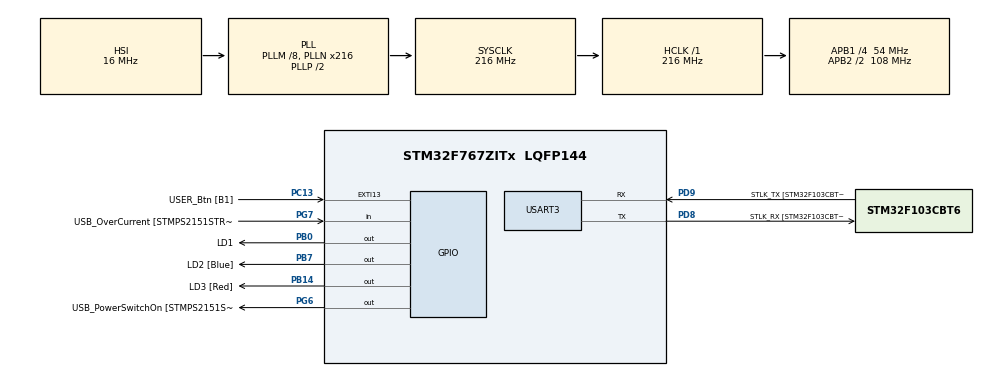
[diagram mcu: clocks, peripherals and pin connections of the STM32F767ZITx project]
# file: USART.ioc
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Mcu.Family=STM32F7
Mcu.Name=STM32F767ZITx
Mcu.Package=LQFP144
NVIC.PriorityGroup=NVIC_PRIORITYGROUP_4
NVIC.USART3_IRQn=true\:0\:0\:false\:false\:true\:true\:true
PA1.GPIO_Label=RMII_REF_CLK [LAN8742A-CZ-TR_REFCLK0]
PA1.Signal=ETH_REF_CLK
PA10.GPIO_Label=USB_ID
PA10.Signal=USB_OTG_FS_ID
PA11.GPIO_Label=USB_DM
PA11.Signal=USB_OTG_FS_DM
PA12.GPIO_Label=USB_DP
PA12.Signal=USB_OTG_FS_DP
PA13.GPIO_Label=TMS
PA13.Mode=Serial_Wire
PA13.Signal=SYS_JTMS-SWDIO
PA14.GPIO_Label=TCK
PA14.Mode=Serial_Wire
PA14.Signal=SYS_JTCK-SWCLK
PA2.GPIO_Label=RMII_MDIO [LAN8742A-CZ-TR_MDIO]
PA2.Signal=ETH_MDIO
PA7.GPIO_Label=RMII_CRS_DV [LAN8742A-CZ-TR_CRS_DV]
PA7.Signal=ETH_CRS_DV
PA8.GPIO_Label=USB_SOF [TP1]
PA8.Signal=USB_OTG_FS_SOF
PA9.GPIO_Label=USB_VBUS
PA9.Signal=USB_OTG_FS_VBUS
PB0.GPIO_Label=LD1
PB0.Signal=GPIO_Output
PB13.GPIO_Label=RMII_TXD1 [LAN8742A-CZ-TR_TXD1]
PB13.Signal=ETH_TXD1
PB14.GPIO_Label=LD3 [Red]
PB14.Signal=GPIO_Output
PB3.GPIO_Label=SW0
PB3.Signal=SYS_JTDO-SWO
PB7.GPIO_Label=LD2 [Blue]
PB7.Signal=GPIO_Output
PC1.GPIO_Label=RMII_MDC [LAN8742A-CZ-TR_MDC]
PC1.Signal=ETH_MDC
PC13.GPIO_Label=USER_Btn [B1]
PC13.Signal=GPXTI13
PC14/OSC32_IN.Signal=RCC_OSC32_IN
PC15/OSC32_OUT.Signal=RCC_OSC32_OUT
PC4.GPIO_Label=RMII_RXD0 [LAN8742A-CZ-TR_RXD0]
PC4.Signal=ETH_RXD0
PC5.GPIO_Label=RMII_RXD1 [LAN8742A-CZ-TR_RXD1]
PC5.Signal=ETH_RXD1
PD8.GPIO_Label=STLK_RX [STM32F103CBT6_PA3]
PD8.Mode=Asynchronous
PD8.Signal=USART3_TX
PD9.GPIO_Label=STLK_TX [STM32F103CBT6_PA2]
PD9.Mode=Asynchronous
PD9.Signal=USART3_RX
PG11.GPIO_Label=RMII_TX_EN [LAN8742A-CZ-TR_TXEN]
PG11.Signal=ETH_TX_EN
PG13.GPIO_Label=RMII_TXD0 [LAN8742A-CZ-TR_TXD0]
PG13.Signal=ETH_TXD0
PG6.GPIO_Label=USB_PowerSwitchOn [STMPS2151STR_EN]
PG6.Signal=GPIO_Output
PG7.GPIO_Label=USB_OverCurrent [STMPS2151STR_FAULT]
PG7.Signal=GPIO_Input
PH0/OSC_IN.GPIO_Label=MCO [STM32F103CBT6_PA8]
PH0/OSC_IN.Mode=HSE-External-Oscillator
PH0/OSC_IN.Signal=RCC_OSC_IN
PH1/OSC_OUT.Mode=HSE-External-Oscillator
PH1/OSC_OUT.Signal=RCC_OSC_OUT
ProjectManager.HeapSize=0x200
ProjectManager.StackSize=0x400
ProjectManager.TargetToolchain=STM32CubeIDE
RCC.48MHZClocksFreq_Value=24000000
RCC.AHBFreq_Value=216000000
RCC.APB1CLKDivider=RCC_HCLK_DIV4
RCC.APB1Freq_Value=54000000
RCC.APB1TimFreq_Value=108000000
RCC.APB2CLKDivider=RCC_HCLK_DIV2
RCC.APB2Freq_Value=108000000
RCC.APB2TimFreq_Value=216000000
RCC.CortexFreq_Value=216000000
RCC.HCLKFreq_Value=216000000
RCC.HSE_VALUE=16000000
RCC.HSI_VALUE=16000000
RCC.LSE_VALUE=32768
RCC.PLLM=8
RCC.PLLMUL=RCC_PLL_MUL9
RCC.PLLN=216
RCC.PRESCALERUSB=RCC_USBCLKSOURCE_PLL_DIV1_5
RCC.SYSCLKFreq_VALUE=216000000
RCC.SYSCLKSource=RCC_SYSCLKSOURCE_PLLCLK
RCC.SYSCLKSourceVirtual=RCC_SYSCLKSOURCE_PLLCLK
RCC.USBFreq_Value=216000000
RCC.VCOOutputFreq_Value=432000000
USART3.VirtualMode-Asynchronous=VM_ASYNC
board=NUCLEO-F767ZI

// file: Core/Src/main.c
/* USER CODE BEGIN Header */
/**
  ******************************************************************************
  * @file           : main.c
  * @brief          : Main program body
  ******************************************************************************
  * @attention
  *
  * Copyright (c) 2022 STMicroelectronics.
  * All rights reserved.
  *
  * This software is licensed under terms that can be found in the LICENSE file
  * in the root directory of this software component.
  * If no LICENSE file comes with this software, it is provided AS-IS.
  *
  ******************************************************************************
  */
/* USER CODE END Header */
#include "main.h"

/* USER CODE BEGIN Includes */
#include "ctype.h"
/* USER CODE END Includes */

UART_HandleTypeDef huart3;

/* USER CODE BEGIN PV */
char buf[5] = {0,};
uint8_t flag = 0;
/* USER CODE END PV */

void SystemClock_Config(void);
static void MX_GPIO_Init(void);
static void MX_USART3_UART_Init(void);

/* USER CODE BEGIN 0 */
void HAL_UART_RxCpltCallback(UART_HandleTypeDef *huart)
{
	if (huart == &huart3)
	  flag = 1;
}
/* USER CODE END 0 */

int main(void)
{

  /* MCU Configuration--------------------------------------------------------*/

  /* Reset of all peripherals, Initializes the Flash interface and the Systick. */
  HAL_Init();

  /* Configure the system clock */
  SystemClock_Config();

  /* Initialize all configured peripherals */
  MX_GPIO_Init();
  MX_USART3_UART_Init();

  /* Infinite loop */
  /* USER CODE BEGIN WHILE */
  while (1)
  {
    HAL_UART_Receive_IT(&huart3, (uint8_t*)buf, 5);

    if (flag)
    {
        switch (buf[0])
        {
            case '1' :
                break;

            case '2' :
                for (size_t i = 1; i < 5; ++i)
                  buf[i] = toupper(buf[i]);
                break;

            case '3' :
                for (size_t i = 1; i < 5; ++i)
                  buf[i] = tolower(buf[i]);
                break;
        }

        HAL_UART_Transmit_IT(&huart3, (uint8_t*)(buf + 1), 4);
        flag = 0;
    }
    /* USER CODE END WHILE */

  }
}

void SystemClock_Config(void)
{
  RCC_OscInitTypeDef RCC_OscInitStruct = {0};
  RCC_ClkInitTypeDef RCC_ClkInitStruct = {0};

  /** Configure the main internal regulator output voltage
  */
  __HAL_RCC_PWR_CLK_ENABLE();
  __HAL_PWR_VOLTAGESCALING_CONFIG(PWR_REGULATOR_VOLTAGE_SCALE1);
  /** Initializes the RCC Oscillators according to the specified parameters
  * in the RCC_OscInitTypeDef structure.
  */
  RCC_OscInitStruct.OscillatorType = RCC_OSCILLATORTYPE_HSI;
  RCC_OscInitStruct.HSIState = RCC_HSI_ON;
  RCC_OscInitStruct.HSICalibrationValue = RCC_HSICALIBRATION_DEFAULT;
  RCC_OscInitStruct.PLL.PLLState = RCC_PLL_ON;
  RCC_OscInitStruct.PLL.PLLSource = RCC_PLLSOURCE_HSI;
  RCC_OscInitStruct.PLL.PLLM = 8;
  RCC_OscInitStruct.PLL.PLLN = 216;
  RCC_OscInitStruct.PLL.PLLP = RCC_PLLP_DIV2;
  RCC_OscInitStruct.PLL.PLLQ = 2;
  RCC_OscInitStruct.PLL.PLLR = 2;
  if (HAL_RCC_OscConfig(&RCC_OscInitStruct) != HAL_OK)
  {
    Error_Handler();
  }
  /** Activate the Over-Drive mode
  */
  if (HAL_PWREx_EnableOverDrive() != HAL_OK)
  {
    Error_Handler();
  }
  /** Initializes the CPU, AHB and APB buses clocks
  */
  RCC_ClkInitStruct.ClockType = RCC_CLOCKTYPE_HCLK|RCC_CLOCKTYPE_SYSCLK
                              |RCC_CLOCKTYPE_PCLK1|RCC_CLOCKTYPE_PCLK2;
  RCC_ClkInitStruct.SYSCLKSource = RCC_SYSCLKSOURCE_PLLCLK;
  RCC_ClkInitStruct.AHBCLKDivider = RCC_SYSCLK_DIV1;
  RCC_ClkInitStruct.APB1CLKDivider = RCC_HCLK_DIV4;
  RCC_ClkInitStruct.APB2CLKDivider = RCC_HCLK_DIV2;

  if (HAL_RCC_ClockConfig(&RCC_ClkInitStruct, FLASH_LATENCY_7) != HAL_OK)
  {
    Error_Handler();
  }
}

static void MX_USART3_UART_Init(void)
{

  huart3.Instance = USART3;
  huart3.Init.BaudRate = 115200;
  huart3.Init.WordLength = UART_WORDLENGTH_8B;
  huart3.Init.StopBits = UART_STOPBITS_1;
  huart3.Init.Parity = UART_PARITY_NONE;
  huart3.Init.Mode = UART_MODE_TX_RX;
  huart3.Init.HwFlowCtl = UART_HWCONTROL_NONE;
  huart3.Init.OverSampling = UART_OVERSAMPLING_16;
  huart3.Init.OneBitSampling = UART_ONE_BIT_SAMPLE_DISABLE;
  huart3.AdvancedInit.AdvFeatureInit = UART_ADVFEATURE_NO_INIT;
  if (HAL_UART_Init(&huart3) != HAL_OK)
  {
    Error_Handler();
  }

}

static void MX_GPIO_Init(void)
{
  GPIO_InitTypeDef GPIO_InitStruct = {0};

  /* GPIO Ports Clock Enable */
  __HAL_RCC_GPIOC_CLK_ENABLE();
  __HAL_RCC_GPIOH_CLK_ENABLE();
  __HAL_RCC_GPIOA_CLK_ENABLE();
  __HAL_RCC_GPIOB_CLK_ENABLE();
  __HAL_RCC_GPIOD_CLK_ENABLE();
  __HAL_RCC_GPIOG_CLK_ENABLE();

  /*Configure GPIO pin Output Level */
  HAL_GPIO_WritePin(GPIOB, LD1_Pin|LD3_Pin|LD2_Pin, GPIO_PIN_RESET);

  /*Configure GPIO pin Output Level */
  HAL_GPIO_WritePin(USB_PowerSwitchOn_GPIO_Port, USB_PowerSwitchOn_Pin, GPIO_PIN_RESET);

  /*Configure GPIO pin : USER_Btn_Pin */
  GPIO_InitStruct.Pin = USER_Btn_Pin;
  GPIO_InitStruct.Mode = GPIO_MODE_IT_RISING;
  GPIO_InitStruct.Pull = GPIO_NOPULL;
  HAL_GPIO_Init(USER_Btn_GPIO_Port, &GPIO_InitStruct);

  /*Configure GPIO pins : RMII_MDC_Pin RMII_RXD0_Pin RMII_RXD1_Pin */
  GPIO_InitStruct.Pin = RMII_MDC_Pin|RMII_RXD0_Pin|RMII_RXD1_Pin;
  GPIO_InitStruct.Mode = GPIO_MODE_AF_PP;
  GPIO_InitStruct.Pull = GPIO_NOPULL;
  GPIO_InitStruct.Speed = GPIO_SPEED_FREQ_VERY_HIGH;
  GPIO_InitStruct.Alternate = GPIO_AF11_ETH;
  HAL_GPIO_Init(GPIOC, &GPIO_InitStruct);

  /*Configure GPIO pins : RMII_REF_CLK_Pin RMII_MDIO_Pin RMII_CRS_DV_Pin */
  GPIO_InitStruct.Pin = RMII_REF_CLK_Pin|RMII_MDIO_Pin|RMII_CRS_DV_Pin;
  GPIO_InitStruct.Mode = GPIO_MODE_AF_PP;
  GPIO_InitStruct.Pull = GPIO_NOPULL;
  GPIO_InitStruct.Speed = GPIO_SPEED_FREQ_VERY_HIGH;
  GPIO_InitStruct.Alternate = GPIO_AF11_ETH;
  HAL_GPIO_Init(GPIOA, &GPIO_InitStruct);

  /*Configure GPIO pins : LD1_Pin LD3_Pin LD2_Pin */
  GPIO_InitStruct.Pin = LD1_Pin|LD3_Pin|LD2_Pin;
  GPIO_InitStruct.Mode = GPIO_MODE_OUTPUT_PP;
  GPIO_InitStruct.Pull = GPIO_NOPULL;
  GPIO_InitStruct.Speed = GPIO_SPEED_FREQ_LOW;
  HAL_GPIO_Init(GPIOB, &GPIO_InitStruct);

  /*Configure GPIO pin : RMII_TXD1_Pin */
  GPIO_InitStruct.Pin = RMII_TXD1_Pin;
  GPIO_InitStruct.Mode = GPIO_MODE_AF_PP;
  GPIO_InitStruct.Pull = GPIO_NOPULL;
  GPIO_InitStruct.Speed = GPIO_SPEED_FREQ_VERY_HIGH;
  GPIO_InitStruct.Alternate = GPIO_AF11_ETH;
  HAL_GPIO_Init(RMII_TXD1_GPIO_Port, &GPIO_InitStruct);

  /*Configure GPIO pin : USB_PowerSwitchOn_Pin */
  GPIO_InitStruct.Pin = USB_PowerSwitchOn_Pin;
  GPIO_InitStruct.Mode = GPIO_MODE_OUTPUT_PP;
  GPIO_InitStruct.Pull = GPIO_NOPULL;
  GPIO_InitStruct.Speed = GPIO_SPEED_FREQ_LOW;
  HAL_GPIO_Init(USB_PowerSwitchOn_GPIO_Port, &GPIO_InitStruct);

  /*Configure GPIO pin : USB_OverCurrent_Pin */
  GPIO_InitStruct.Pin = USB_OverCurrent_Pin;
  GPIO_InitStruct.Mode = GPIO_MODE_INPUT;
  GPIO_InitStruct.Pull = GPIO_NOPULL;
  HAL_GPIO_Init(USB_OverCurrent_GPIO_Port, &GPIO_InitStruct);

  /*Configure GPIO pins : USB_SOF_Pin USB_ID_Pin USB_DM_Pin USB_DP_Pin */
  GPIO_InitStruct.Pin = USB_SOF_Pin|USB_ID_Pin|USB_DM_Pin|USB_DP_Pin;
  GPIO_InitStruct.Mode = GPIO_MODE_AF_PP;
  GPIO_InitStruct.Pull = GPIO_NOPULL;
  GPIO_InitStruct.Speed = GPIO_SPEED_FREQ_VERY_HIGH;
  GPIO_InitStruct.Alternate = GPIO_AF10_OTG_FS;
  HAL_GPIO_Init(GPIOA, &GPIO_InitStruct);

  /*Configure GPIO pin : USB_VBUS_Pin */
  GPIO_InitStruct.Pin = USB_VBUS_Pin;
  GPIO_InitStruct.Mode = GPIO_MODE_INPUT;
  GPIO_InitStruct.Pull = GPIO_NOPULL;
  HAL_GPIO_Init(USB_VBUS_GPIO_Port, &GPIO_InitStruct);

  /*Configure GPIO pins : RMII_TX_EN_Pin RMII_TXD0_Pin */
  GPIO_InitStruct.Pin = RMII_TX_EN_Pin|RMII_TXD0_Pin;
  GPIO_InitStruct.Mode = GPIO_MODE_AF_PP;
  GPIO_InitStruct.Pull = GPIO_NOPULL;
  GPIO_InitStruct.Speed = GPIO_SPEED_FREQ_VERY_HIGH;
  GPIO_InitStruct.Alternate = GPIO_AF11_ETH;
  HAL_GPIO_Init(GPIOG, &GPIO_InitStruct);

}

void Error_Handler(void)
{
  __disable_irq();
  while (1)
  {
  }
}
